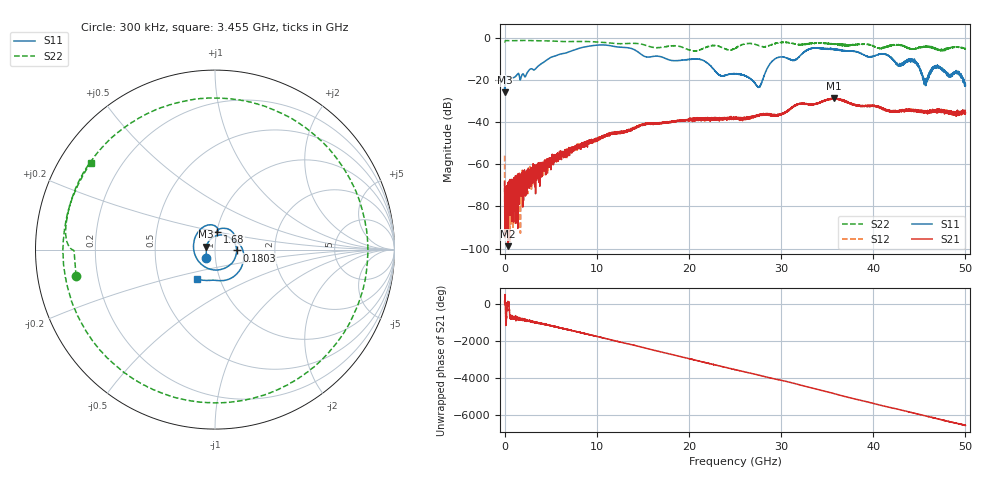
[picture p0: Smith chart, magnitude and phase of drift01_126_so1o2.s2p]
!Created with skrf (http://scikit-rf.org).
# Hz S RI R 50.0
!freq ReS11 ImS11 ReS21 ImS21 ReS12 ImS12 ReS22 ImS22
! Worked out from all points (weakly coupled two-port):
!   10001 points, 300 kHz to 50 GHz, reference 50 ohm
!   highest |S21| = -28.66 dB at 35.74 GHz (marker M1); lowest = -98.9 dB at 380.3 MHz (marker M2)
!   lowest |S11| = -25.8 dB at 5.3 MHz (marker M3), VSWR 1.11, Z = 45.3 + j1.4 ohm
!   |S11| at or under -10 dB: start of sweep to 4.769 GHz; 17.52 GHz to 29.38 GHz (11.86 GHz wide, 50.6 % of centre); 42.08 GHz to end of sweep (the widest 3 of 9)
!   |S22| runs from -6.4 to -1.4 dB; largest |S21 - S12| = 0.0036
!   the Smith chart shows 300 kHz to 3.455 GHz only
!   S11 on the Smith chart (normalised r, x): 300 kHz: 0.90, -0.08; 180.3 MHz: 1.27, -0.01; 1.68 GHz: 1.01, +0.20; 3.455 GHz: 0.78, -0.26
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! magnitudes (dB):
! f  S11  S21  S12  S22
! 300 kHz  -23.6  -68.4  -56.0  -2.1
! 5.3 MHz  -25.8  -74.2  -77.0  -2.1
! 180.3 MHz  -18.4  -82.1  -88.9  -1.4
! 380.3 MHz  -18.5  -98.9  -76.6  -1.4
! 1.68 GHz  -20.1  -66.6  -69.9  -1.4
! 3.455 GHz  -14.3  -64.7  -65.0  -1.5
! 8.335 GHz  -4.8  -50.1  -51.3  -1.8
! 16.67 GHz  -8.8  -40.3  -40.6  -4.8
! 21.22 GHz  -10.3  -38.9  -38.8  -5.7
! 23.39 GHz  -17.9  -38.6  -38.6  -4.3
! 25 GHz  -17.1  -38.5  -38.3  -5.1
! 27.59 GHz  -23.4  -36.7  -36.5  -3.8
! 29.28 GHz  -10.3  -36.4  -36.7  -2.9
! 31.47 GHz  -10.8  -32.3  -32.3  -2.9
! 33.34 GHz  -5.1  -31.8  -31.6  -2.7
! 35.74 GHz  -5.4  -28.7  -28.9  -3.0
! 41.67 GHz  -8.7  -34.9  -35.0  -4.2
! 42.8 GHz  -13.2  -34.7  -35.0  -3.6
! 44.48 GHz  -10.5  -34.9  -34.5  -5.4
! 45.63 GHz  -20.8  -35.2  -34.8  -4.4
! 46.95 GHz  -13.0  -34.5  -34.6  -5.4
! 50 GHz  -22.1  -35.8  -35.5  -5.3
